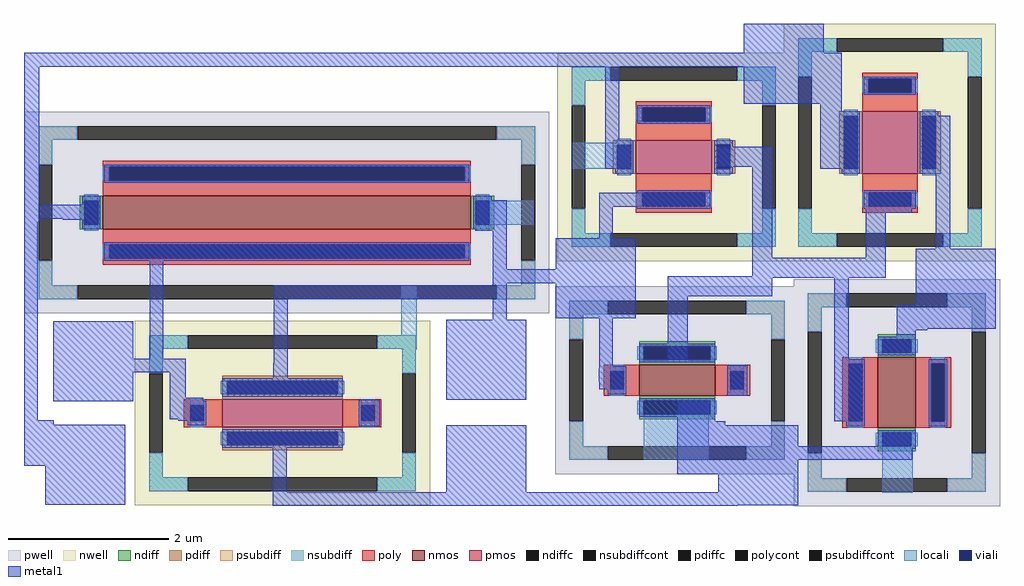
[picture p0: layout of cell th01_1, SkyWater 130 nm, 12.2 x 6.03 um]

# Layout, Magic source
magic
tech sky130A
magscale 1 2
<< metal1 >>
rect 1931 2029 3471 2063
rect 1931 1641 1969 2029
rect 1931 1373 1965 1641
rect 3102 1523 3137 1551
rect 3102 1488 3337 1523
rect 3102 1387 3137 1488
rect 2945 931 3713 965
use th01  x1
transform 1 0 2808 0 1 1382
box 450 -452 1562 754
use preamp  x2
transform 1 0 1562 0 1 1800
box 369 -869 1682 116
<< end >>

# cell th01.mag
magic
tech sky130A
magscale 1 2
<< pwell >>
rect 560 -160 594 -114
rect 880 -176 930 -100
<< locali >>
rect 494 392 638 456
rect 672 -334 834 -188
rect 1268 -418 1344 -268
<< metal1 >>
rect 922 681 1122 754
rect 576 647 1167 681
rect 576 453 610 647
rect 922 554 1167 647
rect 1113 525 1167 554
rect 576 391 641 453
rect 855 397 993 447
rect 560 297 827 331
rect 560 218 594 297
rect 452 18 652 218
rect 943 169 993 397
rect 1113 391 1205 525
rect 1368 390 1438 524
rect 1227 281 1341 331
rect 1227 169 1277 281
rect 1402 192 1438 390
rect 943 123 1277 169
rect 732 119 1277 123
rect 732 73 993 119
rect 560 -107 594 18
rect 732 -84 782 73
rect 1148 -94 1184 119
rect 1352 52 1552 192
rect 1304 -8 1552 52
rect 1304 -12 1380 -8
rect 1304 -34 1352 -12
rect 1268 -70 1352 -34
rect 559 -141 621 -107
rect 560 -159 621 -141
rect 560 -160 594 -159
rect 880 -176 930 -100
rect 755 -215 837 -189
rect 755 -221 843 -215
rect 755 -239 851 -221
rect 1148 -238 1218 -94
rect 755 -250 875 -239
rect 1148 -240 1182 -238
rect 755 -302 1058 -250
rect 1265 -302 1343 -269
rect 755 -336 1343 -302
rect 755 -372 1058 -336
rect 858 -450 1058 -372
use sky130_fd_pr__pfet_01v8_9DPZTU  XM2
transform 1 0 747 0 1 421
box -291 -261 291 261
use sky130_fd_pr__nfet_01v8_586EUA  XM3
transform 0 -1 755 1 0 -137
box -235 -305 235 305
use sky130_fd_pr__nfet_01v8_PJBF84  XM4
transform 0 -1 1304 1 0 -168
box -284 -258 284 258
use sky130_fd_pr__pfet_01v8_RVEGTV  XM5
transform 1 0 1287 0 1 457
box -265 -297 265 297
<< labels >>
flabel metal1 452 18 652 218 0 FreeSans 256 0 0 0 Vin
port 1 nsew
flabel metal1 1352 -8 1552 192 0 FreeSans 256 0 0 0 Vout
port 2 nsew
flabel metal1 858 -450 1058 -250 0 FreeSans 256 0 0 0 Vn
port 3 nsew
flabel metal1 922 554 1122 754 0 FreeSans 256 0 0 0 Vp
port 0 nsew
<< end >>

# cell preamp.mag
magic
tech sky130A
magscale 1 2
<< locali >>
rect 1498 -166 1642 -106
rect 1312 -478 1350 -318
<< metal1 >>
rect 523 -117 557 -101
rect 369 -151 557 -117
rect 369 -655 403 -151
rect 466 -154 557 -151
rect 523 -171 557 -154
rect 1497 -181 1575 -105
rect 583 -251 1471 -217
rect 442 -501 642 -408
rect 683 -501 717 -251
rect 1540 -317 1575 -181
rect 993 -352 1575 -317
rect 442 -535 773 -501
rect 993 -512 1028 -352
rect 1540 -404 1575 -352
rect 442 -608 642 -535
rect 733 -599 773 -535
rect 992 -554 1028 -512
rect 875 -589 1153 -554
rect 992 -590 1027 -589
rect 733 -652 817 -599
rect 1424 -604 1624 -404
rect 369 -666 443 -655
rect 754 -656 788 -652
rect 369 -769 622 -666
rect 1206 -670 1258 -604
rect 877 -717 1153 -683
rect 990 -756 1025 -717
rect 422 -866 622 -769
rect 991 -835 1025 -756
rect 1424 -835 1624 -668
rect 991 -868 1624 -835
rect 991 -869 1529 -868
use sky130_fd_pr__pfet_01v8_4N47A3  XM0
transform 0 -1 1015 1 0 -637
box -231 -369 231 369
use sky130_fd_pr__nfet_01v8_48YMBA  XM1
transform 1 0 1026 0 1 -136
box -656 -252 656 252
<< labels >>
flabel metal1 422 -866 622 -666 0 FreeSans 256 0 0 0 Vp
port 0 nsew
flabel metal1 1424 -604 1624 -404 0 FreeSans 256 0 0 0 Vpamp
port 2 nsew
flabel metal1 1424 -868 1624 -668 0 FreeSans 256 0 0 0 Vn
port 3 nsew
flabel metal1 442 -608 642 -408 0 FreeSans 256 0 0 0 Vin
port 1 nsew
<< end >>

# cell sky130_fd_pr__pfet_01v8_4N47A3: kit device sky130_fd_pr__pfet_01v8, w 1.5 l 0.35 m 1 nf 1 diffcov 100 polycov 100 guard 1 glc 1 grc 1 gtc 1 gbc 1 tbcov 100 rlcov 100 topc 1 botc 1 poverlap 0 doverlap 1 lmin 0.15 wmin 0.42 compatible {sky130_fd_pr__pfet_01v8 sky130_fd_pr__pfet_01v8_lvt sky130_fd_pr__pfet_01v8_hvt sky130_fd_pr__pfet_g5v0d10v5} full_metal 1 viasrc 100 viadrn 100 viagate 100 viagb 0 viagr 0 viagl 0 viagt 0

# cell sky130_fd_pr__nfet_01v8_48YMBA: kit device sky130_fd_pr__nfet_01v8, w 0.42 l 4.6 m 1 nf 1 diffcov 100 polycov 100 guard 1 glc 1 grc 1 gtc 1 gbc 1 tbcov 100 rlcov 100 topc 1 botc 1 poverlap 0 doverlap 1 lmin 0.15 wmin 0.42 compatible {sky130_fd_pr__nfet_01v8 sky130_fd_pr__nfet_01v8_lvt sky130_fd_bs_flash__special_sonosfet_star sky130_fd_pr__nfet_g5v0d10v5 sky130_fd_pr__nfet_05v0_nvt sky130_fd_pr__nfet_03v3_nvt} full_metal 1 viasrc 100 viadrn 100 viagate 100 viagb 0 viagr 0 viagl 0 viagt 0

# cell sky130_fd_pr__pfet_01v8_9DPZTU: kit device sky130_fd_pr__pfet_01v8, w 0.422 l 0.946 m 1 nf 1 diffcov 100 polycov 100 guard 1 glc 1 grc 1 gtc 1 gbc 1 tbcov 100 rlcov 100 topc 1 botc 1 poverlap 0 doverlap 1 lmin 0.15 wmin 0.42 compatible {sky130_fd_pr__pfet_01v8 sky130_fd_pr__pfet_01v8_lvt sky130_fd_pr__pfet_01v8_hvt sky130_fd_pr__pfet_g5v0d10v5} full_metal 1 viasrc 100 viadrn 100 viagate 100 viagb 0 viagr 0 viagl 0 viagt 0

# cell sky130_fd_pr__nfet_01v8_586EUA: kit device sky130_fd_pr__nfet_01v8, w 0.95 l 0.39 m 1 nf 1 diffcov 100 polycov 100 guard 1 glc 1 grc 1 gtc 1 gbc 1 tbcov 100 rlcov 100 topc 1 botc 1 poverlap 0 doverlap 1 lmin 0.15 wmin 0.42 compatible {sky130_fd_pr__nfet_01v8 sky130_fd_pr__nfet_01v8_lvt sky130_fd_bs_flash__special_sonosfet_star sky130_fd_pr__nfet_g5v0d10v5 sky130_fd_pr__nfet_05v0_nvt sky130_fd_pr__nfet_03v3_nvt} full_metal 1 viasrc 100 viadrn 100 viagate 100 viagb 0 viagr 0 viagl 0 viagt 0

# cell sky130_fd_pr__nfet_01v8_PJBF84: kit device sky130_fd_pr__nfet_01v8, w 0.48 l 0.88 m 1 nf 1 diffcov 100 polycov 100 guard 1 glc 1 grc 1 gtc 1 gbc 1 tbcov 100 rlcov 100 topc 1 botc 1 poverlap 0 doverlap 1 lmin 0.15 wmin 0.42 compatible {sky130_fd_pr__nfet_01v8 sky130_fd_pr__nfet_01v8_lvt sky130_fd_bs_flash__special_sonosfet_star sky130_fd_pr__nfet_g5v0d10v5 sky130_fd_pr__nfet_05v0_nvt sky130_fd_pr__nfet_03v3_nvt} full_metal 1 viasrc 100 viadrn 100 viagate 100 viagb 0 viagr 0 viagl 0 viagt 0

# cell sky130_fd_pr__pfet_01v8_RVEGTV: kit device sky130_fd_pr__pfet_01v8, w 0.78 l 0.69 m 1 nf 1 diffcov 100 polycov 100 guard 1 glc 1 grc 1 gtc 1 gbc 1 tbcov 100 rlcov 100 topc 1 botc 1 poverlap 0 doverlap 1 lmin 0.15 wmin 0.42 compatible {sky130_fd_pr__pfet_01v8 sky130_fd_pr__pfet_01v8_lvt sky130_fd_pr__pfet_01v8_hvt sky130_fd_pr__pfet_g5v0d10v5} full_metal 1 viasrc 100 viadrn 100 viagate 100 viagb 0 viagr 0 viagl 0 viagt 0
